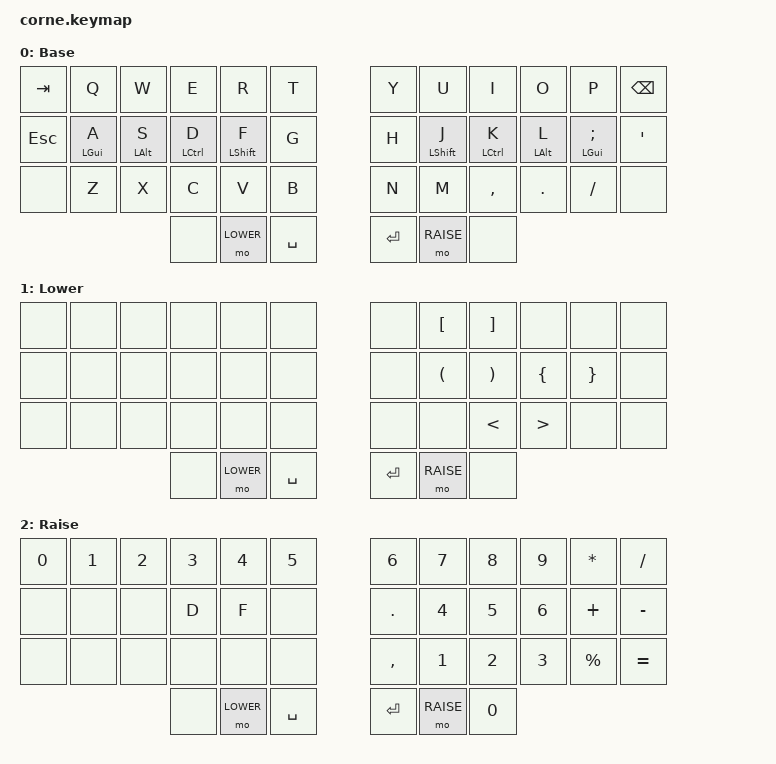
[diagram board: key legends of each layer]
/*
 * Copyright (c) 2020 The ZMK Contributors
 *
 * SPDX-License-Identifier: MIT
 */

#include <behaviors.dtsi>
#include <dt-bindings/zmk/keys.h>
#include <dt-bindings/zmk/bt.h>
#include <dt-bindings/zmk/behaviors.h>

#define BASE      0
#define LOWER     1
#define RAISE     2

/ {
    behaviors {
        mt: mod_tap {
            compatible = "zmk,behavior-hold-tap";
            #binding-cells = <2>;
            flavor = "tap-preferred";
            tapping-term-ms = <250>;
            bindings = <&kp>, <&kp>;
            display-name = "Mod-Tap";
        };
    };
};

/ {
    keymap 
    {
        compatible = "zmk,keymap";
        base_layer // BASE
        {
            display-name = "Base";

            bindings = 
            <
               &kp TAB   &kp Q        &kp W        &kp E         &kp R          &kp T       /*|*/   &kp Y     &kp U          &kp I         &kp O        &kp P           &kp BSPC
               &kp ESC   &mt LGUI A   &mt LALT S   &mt LCTRL D   &mt LSHIFT F   &kp G       /*|*/   &kp H     &mt LSHIFT J   &mt LCTRL K   &mt LALT L   &mt LGUI SEMI   &kp SQT
               &none     &kp Z        &kp X        &kp C         &kp V          &kp B       /*|*/   &kp N     &kp M          &kp COMMA     &kp DOT      &kp FSLH        &none
                                                   &none         &mo LOWER      &kp SPACE   /*|*/   &kp RET   &mo RAISE      &none
            >;
        };

        lower_layer // LOWER
        {
            display-name = "Lower";

            bindings = 
            <
               &none   &none   &none   &none   &none       &none       /*|*/   &none     &kp LBKT    &kp RBKT   &none      &none      &none
               &none   &none   &none   &none   &none       &none       /*|*/   &none     &kp LPAR    &kp RPAR   &kp LBRC   &kp RBRC   &none
               &none   &none   &none   &none   &none       &none       /*|*/   &none     &none       &kp LT     &kp GT     &none      &none
                                       &none   &mo LOWER   &kp SPACE   /*|*/   &kp RET   &mo RAISE   &none
            >;
        };

        raise_layer // RAISE
        {
            display-name = "Raise";

            bindings = 
            <
               &kp N0   &kp N1   &kp N2   &kp N3   &kp N4      &kp N5      /*|*/   &kp N6      &kp N7      &kp N8   &kp N9   &kp ASTRK   &kp FSLH
               &none    &none    &none    &kp D    &kp F       &none       /*|*/   &kp DOT     &kp N4      &kp N5   &kp N6   &kp PLUS    &kp MINUS
               &none    &none    &none    &none    &none       &none       /*|*/   &kp COMMA   &kp N1      &kp N2   &kp N3   &kp PRCNT   &kp EQUAL
                                          &none    &mo LOWER   &kp SPACE   /*|*/   &kp RET     &mo RAISE   &kp N0
            >;
        };
    };
};
